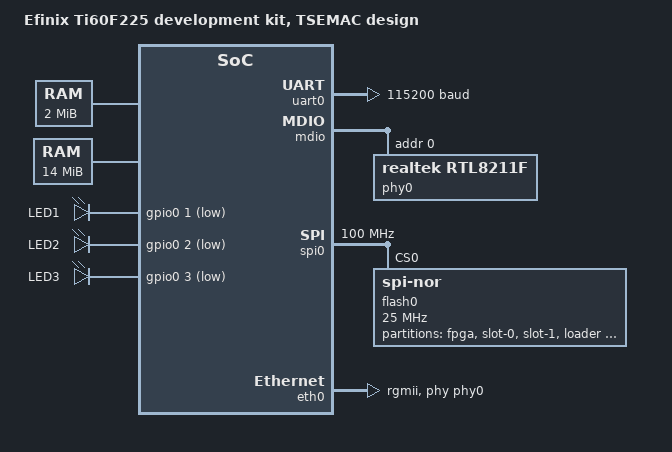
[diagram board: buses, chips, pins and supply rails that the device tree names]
/*
 * Ti60F225 development kit running Efinix's TSEMAC Linux example design
 * (~/dev/ti60f225_evmlinux/fpga/ti60-tsemac-linux): two rv32imac harts at 200 MHz,
 * peripherals and machine timer at 100 MHz, 32 MB HyperRAM, TSEMAC behind a
 * scatter-gather DMA that only reaches HyperRAM.
 *
 * Zephyr runs from HyperRAM at 0x01000000. The design's flash bootloader copies the
 * second-stage loader (loader/) from flash 0x600000 there, which loads the image from
 * one of two flash slots to the same address and starts both harts in it. Hart 1 is
 * parked by the Zephyr reset code.
 *
 * The 2 MB image region is Zephyr's "flash": code, read-only data and the initial
 * values of data, packed with nothing in between. RAM for data, bss and noinit follows
 * it. A layout of RAM only would put any section linked after bss into the image too,
 * padded with all of bss and noinit.
 */

/dts-v1/;

#include <efinix/sapphire_soc.dtsi>

/delete-node/ &ram0;

/ {
	model = "Efinix Ti60F225 development kit, TSEMAC design";
	compatible = "efinix,ti60-evm-eth";

	chosen {
		zephyr,console = &uart0;
		zephyr,shell-uart = &uart0;
		zephyr,sram = &ram0;
		zephyr,flash = &image0;
	};

	aliases {
		led0 = &led1;
	};

	/* loaded from a slot by the second-stage loader, which allows up to 2 MB - 4 KB */
	image0: memory@1000000 {
		reg = <0x01000000 DT_SIZE_M(2)>;
	};

	ram0: memory@1200000 {
		device_type = "memory";
		reg = <0x01200000 DT_SIZE_M(14)>;
	};

	leds {
		compatible = "gpio-leds";

		led1: led_1 {
			gpios = <&gpio0 1 GPIO_ACTIVE_LOW>;
			label = "LED1";
		};

		led2: led_2 {
			gpios = <&gpio0 2 GPIO_ACTIVE_LOW>;
			label = "LED2";
		};

		led3: led_3 {
			gpios = <&gpio0 3 GPIO_ACTIVE_LOW>;
			label = "LED3";
		};
	};
};

&{/cpus/cpu@0} {
	clock-frequency = <200000000>;
	riscv,isa-extensions = "i", "m", "a", "c", "zicsr", "zifencei";
};

&uart0 {
	status = "okay";
	current-speed = <115200>;
};

&gpio0 {
	reg = <0xf8016000 0x100>;
	status = "okay";
};

&{/soc} {
	mdio: mdio@f8100100 {
		compatible = "efinix,tsemac-mdio";
		reg = <0xf8100100 0x20>, <0xf8100200 0x20>;
		reg-names = "mdio", "ctrl";
		#address-cells = <1>;
		#size-cells = <0>;
		status = "okay";

		phy0: ethernet-phy@0 {
			compatible = "realtek,rtl8211f";
			reg = <0>;
			status = "okay";
		};
	};

	spi0: spi@f8014000 {
		compatible = "efinix,sapphire-spi";
		reg = <0xf8014000 0x1000>;
		clock-frequency = <100000000>;
		#address-cells = <1>;
		#size-cells = <0>;
		status = "okay";

		/* the FPGA configuration flash, W25Q64JW */
		flash0: flash@0 {
			compatible = "jedec,spi-nor";
			reg = <0>;
			spi-max-frequency = <25000000>;
			size = <DT_SIZE_M(64)>; /* bits */
			jedec-id = [ef 60 17];
			status = "okay";

			partitions {
				compatible = "fixed-partitions";
				#address-cells = <1>;
				#size-cells = <1>;

				/* compressed bitstream, about 850 KB */
				fpga_partition: partition@0 {
					label = "fpga";
					reg = <0x000000 0x200000>;
					read-only;
				};

				/*
				 * Zephyr images, booted by the second-stage loader (loader/): the
				 * newest valid slot. Updates write the other one.
				 */
				slot0_partition: partition@200000 {
					label = "slot-0";
					reg = <0x200000 0x200000>;
				};

				slot1_partition: partition@400000 {
					label = "slot-1";
					reg = <0x400000 0x200000>;
				};

				/* copied to 0x01000000 and started by the design's bootloader */
				loader_partition: partition@600000 {
					label = "loader";
					reg = <0x600000 0x10000>;
				};

				storage_partition: partition@610000 {
					label = "storage";
					reg = <0x610000 0x1f0000>;
				};
			};
		};
	};

	eth0: ethernet@f8100000 {
		compatible = "efinix,tsemac";
		reg = <0xf8100000 0x10000>, <0xf8110000 0x10000>;
		reg-names = "mac", "dma";
		interrupt-parent = <&plic0>;
		interrupts = <16 1>, <17 1>;
		local-mac-address = [00 11 22 33 44 55];
		phy-handle = <&phy0>;
		phy-connection-type = "rgmii";
		/*
		 * RTL8211F as Efinix's Linux sets it up: no RGMII delays in the PHY (page
		 * 0xd08 registers 0x11 and 0x15), the FPGA design delays the clocks; forced
		 * gigabit master, which Efinix uses for an RTL8211F issue as slave
		 */
		phy-register-updates = <0x1f 0xffff 0x0d08>, <0x11 0x0100 0>, <0x15 0x0008 0>,
				       <0x1f 0xffff 0>, <0x09 0x1800 0x1800>;
		status = "okay";
	};
};
